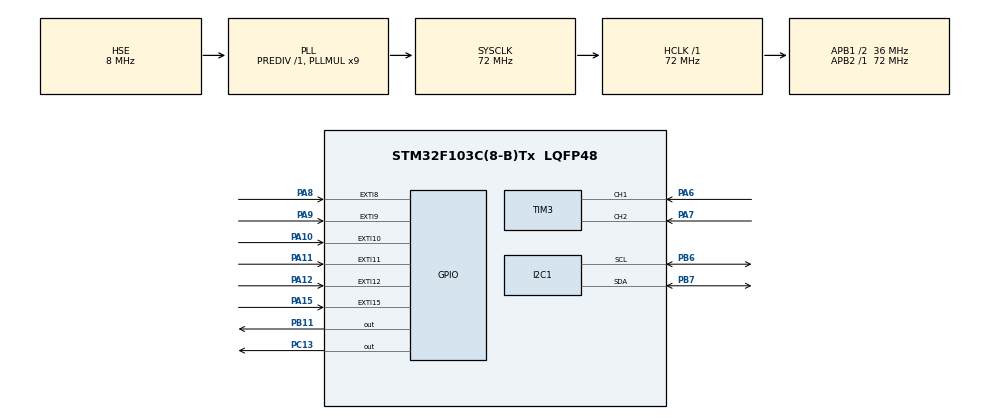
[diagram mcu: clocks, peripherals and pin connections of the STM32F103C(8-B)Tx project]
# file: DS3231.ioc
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I2C1.I2C_Mode=I2C_Fast
Mcu.Family=STM32F1
Mcu.Name=STM32F103C(8-B)Tx
Mcu.Package=LQFP48
NVIC.EXTI15_10_IRQn=true\:0\:0\:true\:false\:true\:true\:true\:true
NVIC.EXTI9_5_IRQn=true\:0\:0\:true\:false\:true\:true\:true\:true
NVIC.PriorityGroup=NVIC_PRIORITYGROUP_4
NVIC.TIM3_IRQn=true\:0\:0\:false\:false\:true\:true\:true\:true
PA0-WKUP.Mode=SYS_WakeUp0
PA0-WKUP.Signal=SYS_WKUP
PA10.GPIO_ModeDefaultEXTI=GPIO_MODE_IT_FALLING
PA10.Signal=GPXTI10
PA11.Signal=GPXTI11
PA12.Signal=GPXTI12
PA13.Mode=Serial_Wire
PA13.Signal=SYS_JTMS-SWDIO
PA14.Mode=Serial_Wire
PA14.Signal=SYS_JTCK-SWCLK
PA15.Signal=GPXTI15
PA6.Signal=S_TIM3_CH1
PA7.Signal=S_TIM3_CH2
PA8.Signal=GPXTI8
PA9.Signal=GPXTI9
PB11.Signal=GPIO_Output
PB6.Mode=I2C
PB6.Signal=I2C1_SCL
PB7.Mode=I2C
PB7.Signal=I2C1_SDA
PC13-TAMPER-RTC.Signal=GPIO_Output
PD0-OSC_IN.Mode=HSE-External-Oscillator
PD0-OSC_IN.Signal=RCC_OSC_IN
PD1-OSC_OUT.Mode=HSE-External-Oscillator
PD1-OSC_OUT.Signal=RCC_OSC_OUT
ProjectManager.HeapSize=0x200
ProjectManager.StackSize=0x400
ProjectManager.TargetToolchain=STM32CubeIDE
RCC.AHBFreq_Value=72000000
RCC.APB1CLKDivider=RCC_HCLK_DIV2
RCC.APB1Freq_Value=36000000
RCC.APB1TimFreq_Value=72000000
RCC.APB2Freq_Value=72000000
RCC.APB2TimFreq_Value=72000000
RCC.HCLKFreq_Value=72000000
RCC.PLLMUL=RCC_PLL_MUL9
RCC.PLLSourceVirtual=RCC_PLLSOURCE_HSE
RCC.SYSCLKFreq_VALUE=72000000
RCC.SYSCLKSource=RCC_SYSCLKSOURCE_PLLCLK
RCC.USBFreq_Value=72000000
SH.S_TIM3_CH1.0=TIM3_CH1,Encoder_Interface
SH.S_TIM3_CH2.0=TIM3_CH2,Encoder_Interface
TIM1.Prescaler=71
TIM2.Prescaler=71
TIM3.EncoderMode=TIM_ENCODERMODE_TI12
TIM3.IC1Polarity=TIM_ICPOLARITY_FALLING
TIM3.IC2Polarity=TIM_ICPOLARITY_FALLING
TIM4.Prescaler=71
VP_TIM1_VS_ClockSourceINT.Mode=Internal
VP_TIM2_VS_ClockSourceINT.Mode=Internal
VP_TIM4_VS_ClockSourceINT.Mode=Internal
board=custom

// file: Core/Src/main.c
/* USER CODE BEGIN Header */
/**
  ******************************************************************************
  * @file           : main.c
  * @brief          : Main program body
  ******************************************************************************
  * @attention
  *
  * Copyright (c) 2023 STMicroelectronics.
  * All rights reserved.

  * Main Author: VuTuanLinh / BlingMio

  * This software is licensed under terms that can be found in the LICENSE file
  * in the root directory of this software component.
  * If no LICENSE file comes with this software, it is provided AS-IS.
  *
  ******************************************************************************
  */
/* USER CODE END Header */
#include "main.h"

/* USER CODE BEGIN Includes */
#include "DS3231.h"
#include "lcd_i2c.h"
#include "delay.h"
#include "stdio.h"

/* USER CODE END Includes */

/* USER CODE BEGIN PTD */
	uint8_t device;
	DS3231_Time DS3231;
/* USER CODE END PTD */

I2C_HandleTypeDef hi2c1;
TIM_HandleTypeDef htim1;
TIM_HandleTypeDef htim2;
TIM_HandleTypeDef htim3;
TIM_HandleTypeDef htim4;

/* USER CODE BEGIN PV */
LCD_I2C_HandleTypeDef p_lcd;
/* USER CODE END PV */

void SystemClock_Config(void);
static void MX_GPIO_Init(void);
static void MX_I2C1_Init(void);
static void MX_TIM2_Init(void);
static void MX_TIM1_Init(void);
static void MX_TIM3_Init(void);
static void MX_TIM4_Init(void);

/* USER CODE BEGIN 0 */
	  	enum state{
		DATE,
		SET_HOUR,
		SET_MIN,
		SET_SEC,
		SET_DAY,
		SET_YEAR,
		SET_MONTH,
		SET_DATE,
		   };

       enum alarm{
	    ALARM,
		ALARM_HOUR,
		ALARM_MIN,
		ALARM_DAY,
		ALARM_YEAR,
		ALARM_MONTH,
		ALARM_DATE
           };
       enum dht {HOME, DHT};

    enum alarm alarm;
	enum state state;
	enum dht dht;

	char time[15];
	uint16_t hour = 0;
	uint16_t savealarmhour, min;
	uint16_t alarmday, alarmdate, alarmmonth, alarmyear;

	uint8_t savehour;
    uint8_t savemin;
    uint8_t savesec;
    uint8_t saveday, savedate, savemonth, saveyear;
    uint32_t timer = 0;

    uint8_t counter = 0;
    uint8_t trangthai = 0;
    uint8_t dem = 0;
    uint32_t flag = 0;

    uint32_t tempCode;
    uint8_t bitIndex;
    uint8_t cmd;
    uint8_t cmdli;
    uint32_t code;

	#define DHT11_PORT GPIOB
	#define DHT11_PIN GPIO_PIN_11
	uint8_t RHI, RHD, TCI, TCD, SUM;
	uint32_t pMillis, cMillis;
	float tCelsius = 0;
	float tFahrenheit = 0;
	float RH = 0;
	uint8_t TFI = 0;
	uint8_t TFD = 0;
	char strCopy[15];

    void HAL_TIM_IC_CaptureCallback(TIM_HandleTypeDef *htim)
	{
		counter = __HAL_TIM_GET_COUNTER(htim);
	}

    void HAL_GPIO_EXTI_Callback(uint16_t GPIO_Pin)
	{

	  if(GPIO_Pin == GPIO_PIN_10)
	  {
		if (__HAL_TIM_GET_COUNTER(&htim1) > 8000 )
		{
		  tempCode = 0;
		  bitIndex = 0;
		}
		else if (__HAL_TIM_GET_COUNTER(&htim1) > 1700)
		{
		  tempCode |= (1UL << (31-bitIndex));
		  bitIndex++;
		}
		else if (__HAL_TIM_GET_COUNTER(&htim1) > 1000)
		{
		  tempCode &= ~(1UL << (31-bitIndex));
		  bitIndex++;
		}
		if(bitIndex == 32)
		{
		  cmdli = ~tempCode;
		  cmd = tempCode >> 8;
		  if(cmdli == cmd)
		  {
			code = tempCode;
		  }
		  bitIndex = 0;
		}
		__HAL_TIM_SET_COUNTER(&htim1, 0);
		flag = code;
	  }

	  if(GPIO_Pin == GPIO_PIN_8 && dht != DHT  && alarm == ALARM
			  || flag == 16712445 && dht != DHT && alarm == ALARM)
		  {
	  	  if(HAL_GetTick()- timer < 90)
		  {
			return;
		  }
			timer = HAL_GetTick();
			  if (state == DATE)
			  {
				  lcd_clear(&p_lcd);
				  state++;
				  savehour = DS3231.Hour;
				  savemin = DS3231.Min;
				  savesec = DS3231.Sec;
				  saveday = DS3231.Day;
				  savedate = DS3231.Date;
				  savemonth = DS3231.Month;
				  saveyear = DS3231.Year;
				  flag = 0;
			  }
			  else{
				  state++;
				  flag = 0;
				  if (state - SET_SEC == 1)
					  {
					   state = SET_DAY;
					  }
				  if (state - SET_DATE == 1)
					  {
					   state = DATE;
					   DS3231_SetTime(&DS3231, savehour, savemin, savesec);
					   DS3231_SetDate(&DS3231, saveday, savedate, savemonth, saveyear);
					  }
					}
		  }

	  if(GPIO_Pin == GPIO_PIN_11 && dht != DHT  && state == DATE
			  || flag == 16769055 && dht != DHT && state == DATE)
	  	  	  {
	  	  if(HAL_GetTick()- timer < 90)
		  {
			return;
		  }
			timer = HAL_GetTick();
	  	  		  if (alarm == ALARM)
	  			  {
	  				  hour = DS3231.Hour;
		  			  savealarmhour = DS3231.Hour;
					  min  = DS3231.Min;
					  alarmday   = DS3231.Day;
	  				  alarmdate  = DS3231.Date;
	  				  alarmmonth = DS3231.Month;
	  				  alarmyear  = DS3231.Year;
	  				  min  = DS3231.Min + 1;
	  				  alarm++;
	  				  flag = 0;
	  			  }
	  	  		  else
	  	  		  {
	  				  alarm++;
	  				  if (alarm - ALARM_MIN == 1)
	  				  	  {
	  					  alarm = ALARM_DAY;
	  				  	  }
					  if (alarm - ALARM_DATE == 1)
						  {
						  alarm = ALARM;
						  }
	  				 flag = 0;
	  	  		   }
	  	  	      }

	  if (GPIO_Pin == GPIO_PIN_15 || flag == 16748655)
	  	  	  {
	  	  if(HAL_GetTick()- timer < 50)
		  {
			return;
		  }
					if (dht == HOME)
						{
						dht = DHT;
						}
					else
					{
						dht++;
						if (dht - DHT == 1)
							{
							dht = DATE;
							}
					}

				}

	  if(        GPIO_Pin == GPIO_PIN_9  && dht != DHT  && alarm == ALARM
			  || flag == 16761405 && dht != DHT && alarm == ALARM)
	 	 {
	  	  if(HAL_GetTick()- timer < 90)
		  {
			return;
		  }
			timer = HAL_GetTick();
      switch (state)
	 	 {
	 	 	 case SET_SEC:
	 	 		 savesec++;
	 	 		 flag = 0;
	 	 		 if (savesec > 59)

	 	 		 {
	 	 			 savesec = 0;
	 	 		 }
		     break;

			case SET_MIN:
				savemin++;
				flag = 0;
				if (savemin > 59)
					{
					 savemin = 0;
					}
				break;
			case SET_HOUR:
				savehour++;
				flag = 0;
				if (savehour > 23)
					{
					 savehour = 0;
					}
				break;
			case SET_DAY:
				saveday++;
				flag = 0;
				if (saveday > 7 )
					{
					saveday = 1;
					}
				break;
			case SET_YEAR:
				saveyear++;
				flag = 0;
				if ( saveyear > 30)
				{
					saveyear = 24;
				}
				break;
			case SET_MONTH:
				savemonth++;
				flag = 0;
				if ( savemonth > 12)
				{
					savemonth = 1;
				}
				break;
			case SET_DATE:
				savedate++;
				flag = 0;
				if (savemonth == 1
						|| savemonth == 3
						|| savemonth == 5
						|| savemonth == 7
						|| savemonth == 8
						|| savemonth == 10
						|| savemonth == 12 )
					{
					if (savedate > 31)
						{
						savedate = 1;
						}
					}
				if (savemonth == 2 && saveyear == 24)
					{
					if (savedate > 29)
						{
						savedate = 1;
						}
					}
				else if (savemonth == 2 && saveyear == 28)
				    {
					if (savedate > 29)
						{
						savedate = 1;
						}
					}
				else if (savemonth == 2 && saveyear != 24)
					{
					if (savedate > 28)
						{
						savedate = 1;
						}
					}
				else if (savemonth == 2 && saveyear != 28)
					{
					if (savedate > 28)
						{
						savedate = 1;
						}
					}
				if (savemonth == 4
						|| savemonth == 6
						|| savemonth == 3
						|| savemonth == 9
						|| savemonth == 11)
					{
					if (savedate > 30)
						{
						savedate = 1;
						}
					}
				break;
	 	 }
	 	 }

      if(GPIO_Pin == GPIO_PIN_12 && dht != DHT  && state == DATE
    		  || flag == 16754775 && dht != DHT && state == DATE)
      {
	  	  if(HAL_GetTick()- timer < 90)
		  {
			return;
		  }
			timer = HAL_GetTick();
				switch(alarm)
				{
				case ALARM_MIN:
					min++;
					flag = 0;
					if (min > 59)
						{
						min = 0;
						}
					break;
				case ALARM_HOUR:
					savealarmhour ++;
					flag = 0;
					if (savealarmhour > 23)
						{
						savealarmhour = 0;
						}
					break;
				case ALARM_DAY:
					alarmday++;
					flag = 0;
					if (alarmday > 7 )
						{
						alarmday = 1;
						}
					break;
				case ALARM_YEAR:
					alarmyear++;
					flag = 0;
					if ( alarmyear > 30)
					{
						alarmyear = 24;
					}
					break;
				case ALARM_MONTH:
					alarmmonth++;
					flag = 0;
					if ( alarmmonth > 12)
					{
						alarmmonth = 1;
					}
					break;
				case ALARM_DATE:
					alarmdate++;
					flag = 0;
					if (alarmmonth == 1
							|| alarmmonth == 3
							|| alarmmonth == 5
							|| alarmmonth == 7
							|| alarmmonth == 8
							|| alarmmonth == 10
							|| alarmmonth == 12 )
						{
						if (alarmdate > 31)
							{
							alarmdate = 1;
							}
						}
					if (alarmmonth == 2 && alarmyear == 24)
						{
						if (alarmdate > 29)
							{
							alarmdate = 1;
							}
						}
					else if (alarmmonth == 2 && alarmyear == 28)
						{
						if (alarmdate > 29)
							{
							alarmdate = 1;
							}
						}
					else if (alarmmonth == 2 && alarmyear != 24)
						{
						if (alarmdate > 28)
							{
							alarmdate = 1;
							}
						}
					else if (alarmmonth == 2 && alarmyear != 28)
						{
						if (alarmdate > 28)
							{
							alarmdate = 1;
							}
						}
					if (alarmmonth == 4
							|| alarmmonth == 6
							|| alarmmonth == 3
							|| alarmmonth == 9
							|| alarmmonth == 11)
						{
						if (alarmdate > 30)
							{
							alarmdate = 1;
							}
						}
					break;
		 default:
			    break;
		}

      }

	}
			void microDelay (uint16_t delay)
		  {
			__HAL_TIM_SET_COUNTER(&htim4, 0);
			while (__HAL_TIM_GET_COUNTER(&htim4) < delay);
		  }
			uint8_t DHT11_Start (void)
			{
			  uint8_t Response = 0;
			  GPIO_InitTypeDef GPIO_InitStructPrivate = {0};
			  GPIO_InitStructPrivate.Pin = DHT11_PIN;
			  GPIO_InitStructPrivate.Mode = GPIO_MODE_OUTPUT_PP;
			  GPIO_InitStructPrivate.Speed = GPIO_SPEED_FREQ_LOW;
			  GPIO_InitStructPrivate.Pull = GPIO_NOPULL;
			  HAL_GPIO_Init(DHT11_PORT, &GPIO_InitStructPrivate); // set the pin as output
			  HAL_GPIO_WritePin (DHT11_PORT, DHT11_PIN, 0);   // pull the pin low
			  HAL_Delay(20);   // wait for 20ms
			  HAL_GPIO_WritePin (DHT11_PORT, DHT11_PIN, 1);   // pull the pin high
			  microDelay (30);   // wait for 30us
			  GPIO_InitStructPrivate.Mode = GPIO_MODE_INPUT;
			  GPIO_InitStructPrivate.Pull = GPIO_PULLUP;
			  HAL_GPIO_Init(DHT11_PORT, &GPIO_InitStructPrivate); // set the pin as input
			  microDelay (40);
			  if (!(HAL_GPIO_ReadPin (DHT11_PORT, DHT11_PIN)))
			  {
				microDelay (80);
				if ((HAL_GPIO_ReadPin (DHT11_PORT, DHT11_PIN))) Response = 1;
			  }
			  pMillis = HAL_GetTick();
			  cMillis = HAL_GetTick();
			  while ((HAL_GPIO_ReadPin (DHT11_PORT, DHT11_PIN)) && pMillis + 2 > cMillis)
			  {
				cMillis = HAL_GetTick();
			  }
			  return Response;
			}

			uint8_t DHT11_Read (void)
			{
			  uint8_t a,b;
			  for (a=0;a<8;a++)
			  {
				pMillis = HAL_GetTick();
				cMillis = HAL_GetTick();
				while (!(HAL_GPIO_ReadPin (DHT11_PORT, DHT11_PIN)) && pMillis + 2 > cMillis)
				{  // wait for the pin to go high
				  cMillis = HAL_GetTick();
				}
				microDelay (40);   // wait for 40 us
				if (!(HAL_GPIO_ReadPin (DHT11_PORT, DHT11_PIN)))   // if the pin is low
				  b&= ~(1<<(7-a));
				else
				  b|= (1<<(7-a));
				pMillis = HAL_GetTick();
				cMillis = HAL_GetTick();
				while ((HAL_GPIO_ReadPin (DHT11_PORT, DHT11_PIN)) && pMillis + 2 > cMillis)
				{  // wait for the pin to go low
				  cMillis = HAL_GetTick();
				}
			  }
			  return b;
			  }

/* USER CODE END 0 */

int main(void)
{

  /* MCU Configuration--------------------------------------------------------*/

  /* Reset of all peripherals, Initializes the Flash interface and the Systick. */
  HAL_Init();

  /* Configure the system clock */
  SystemClock_Config();

  /* Initialize all configured peripherals */
  MX_GPIO_Init();
  MX_I2C1_Init();
  MX_TIM2_Init();
  MX_TIM1_Init();
  MX_TIM3_Init();
  MX_TIM4_Init();
  /* USER CODE BEGIN 2 */
  lcd_i2c_init(&p_lcd, &hi2c1, 20, 4, 0x27<<1);
  HAL_TIM_Base_Start(&htim2);
  HAL_TIM_Base_Start(&htim1);
  HAL_TIM_Base_Start(&htim4);
  __HAL_TIM_SET_COUNTER(&htim1, 0);

  for (int i = 0; i < 255; i++)
  {
	   if (HAL_I2C_IsDeviceReady(&hi2c1, i, 1, 100) == HAL_OK)
	   {
		   device = i;
	   }
  }

  DS3231_Init(&DS3231, &hi2c1);
  HAL_TIM_Encoder_Start_IT(&htim3, TIM_CHANNEL_ALL);
  uint32_t timer1 = HAL_GetTick();
//  DS3231_SetTime(&DS3231, 7, 53, 0);
//  DS3231_SetDate(&DS3231, 5, 25, 1, 24);
  /* USER CODE END 2 */

  /* Infinite loop */
  while (1)
  {

    /* USER CODE BEGIN 3 */

	  DS3231_GetTime(&DS3231);
	  DS3231_GetDate(&DS3231);

	  if(DHT11_Start())
	  				  {
	  					RHI = DHT11_Read(); // Relative humidity integral
	  					RHD = DHT11_Read(); // Relative humidity decimal
	  					TCI = DHT11_Read(); // Celsius integral
	  					TCD = DHT11_Read(); // Celsius decimal
	  					SUM = DHT11_Read(); // Check sum
	  					if (RHI + RHD + TCI + TCD == SUM)
	  					{
	  					  // Can use RHI and TCI for any purposes if whole number only needed
	  					  tCelsius = (float)TCI + (float)(TCD/10.0);
	  					  tFahrenheit = tCelsius * 9/5 + 32;
	  					  RH = (float)RHI + (float)(RHD/10.0);
	  					  // Can use tCelsius, tFahrenheit and RH for any purposes
	  					  TFI = tFahrenheit;  // Fahrenheit integral
	  					  TFD = tFahrenheit*10-TFI*10; // Fahrenheit decimal
	  					}
	  				  }

	  if (    alarm == ALARM
			  && DS3231.Hour == savealarmhour
			  && DS3231.Min == min
			  && DS3231.Day == alarmday
			  && DS3231.Date == alarmdate
			  && DS3231.Month == alarmmonth
			  && DS3231.Year == alarmyear)
		   {HAL_GPIO_WritePin(GPIOC, GPIO_PIN_13, SET);}
	  else {HAL_GPIO_WritePin(GPIOC, GPIO_PIN_13, RESET);}

	  switch (state)
	  {
	  	 case DATE:
	  		DS3231_GetTime(&DS3231);
		    DS3231_GetDate(&DS3231);
		    HAL_Delay(100);
		    lcd_clear(&p_lcd);
					if (DS3231.Day == 1)
					{
						lcd_set_cursor(&p_lcd, 0, 1);
						sprintf(time, "CN %d-%d-20%d" , DS3231.Date, DS3231.Month, DS3231.Year);
						lcd_send_string(&p_lcd, time);
					}
					else
					{
						lcd_set_cursor(&p_lcd, 0, 1);
						sprintf(time, "Thu %d %d-%d-20%d", DS3231.Day, DS3231.Date, DS3231.Month, DS3231.Year);
						lcd_send_string(&p_lcd, time);
					}

                    if (HAL_GetTick()- timer1 >= 5000)
                    	{
                    	  lcd_clear(&p_lcd);
                    	  lcd_set_cursor(&p_lcd, 0, 1);
                    	  sprintf(time, "%02d:%02d", savealarmhour, min);
                    	  lcd_send_string(&p_lcd, time);

                    	  if (alarmday == 1)
						{
							lcd_set_cursor(&p_lcd, 6, 1);
							sprintf(time, "CN/%d/%d/%d" , alarmdate, alarmmonth, alarmyear);
							lcd_send_string(&p_lcd, time);
						}
						else
						{
							lcd_set_cursor(&p_lcd, 6, 1);
							sprintf(time, "%d/%d/%d/%d", alarmday, alarmdate, alarmmonth, alarmyear);
							lcd_send_string(&p_lcd, time);
						}
                    	  lcd_set_cursor(&p_lcd, 4, 0);
						  sprintf(time, "%02d:%02d:%02d ", DS3231.Hour, DS3231.Min, DS3231.Sec);
						  lcd_send_string(&p_lcd, time);
					    }
					  if (HAL_GetTick()- timer1 >= 8500)
					  {
					  timer1 = HAL_GetTick();
					  }

		    lcd_set_cursor(&p_lcd, 4, 0);
			sprintf(time, "%02d:%02d:%02d ", DS3231.Hour, DS3231.Min, DS3231.Sec);
			lcd_send_string(&p_lcd, time);
	  		break;

	  	 case SET_HOUR:
	  		if (trangthai < counter)
					{
					  trangthai = counter;
					  savehour++;
							if (savehour > 23)
								{
								savehour = 0;
								}
						trangthai = counter;
					}
			  else if (trangthai > counter)
					{
						trangthai = counter;
						savehour--;
						if (savehour < 0)
							{
							savehour = 23;
							}
						trangthai = counter;
					}
			  if (trangthai = counter)
					{
					  if (savehour > 23)
						{
						  savehour = 23;
						}
					}
	  		lcd_clear(&p_lcd);
	  		lcd_set_cursor(&p_lcd, 4, 0);
	  		sprintf(time, " +%02d:%02d:%02d", savehour, savemin, savesec);
	  		lcd_send_string(&p_lcd, time);
	  		HAL_Delay(150);
	  	 	break;

	  	 case SET_MIN:
	  		if (trangthai < counter)
					{
					  trangthai = counter;
					  savemin++;
							if (savemin > 59)
								{
								savemin = 0;
								}
						trangthai = counter;
					}
			  else if (trangthai > counter)
					{
						trangthai = counter;
						savemin--;
						if (savemin < 0)
							{
							savemin = 59;
							}
						trangthai = counter;
					}
			  if (trangthai = counter)
					{
					  if (savemin > 59)
						{
						  savemin = 59;
						}
					}
		 	lcd_clear(&p_lcd);
	  		lcd_set_cursor(&p_lcd, 4, 0);
	  		sprintf(time, "  %02d:+%02d:%02d", savehour, savemin, savesec);
			lcd_send_string(&p_lcd, time);
			HAL_Delay(150);
		    break;

	  	 case SET_SEC:
	  		if (trangthai < counter)
					{
					  trangthai = counter;
					  savesec++;
							if (savesec > 59)
								{
								savesec = 0;
								}
						trangthai = counter;
					}
			  else if (trangthai > counter)
					{
						trangthai = counter;
						savesec--;
						if (savesec < 0)
							{
							savesec = 59;
							}
						trangthai = counter;
					}
			  if (trangthai = counter)
					{
					  if (savesec > 59)
						{
						  savesec = 59;
						}
					}
		 	lcd_clear(&p_lcd);
			lcd_set_cursor(&p_lcd, 4, 0);
			sprintf(time, " %02d:%02d:+%02d", savehour, savemin, savesec);
			lcd_send_string(&p_lcd, time);
			HAL_Delay(150);
			break;

	  	 case SET_DAY:
	  		if (trangthai < counter)
					{
					  trangthai = counter;
					  saveday++;
							if ( saveday > 7)
								{
								saveday = 1;
								}
						trangthai = counter;
					}
			  else if (trangthai > counter)
					{
						trangthai = counter;
						saveday--;
						if (saveday < 1)
							{
							saveday = 7;
							}
						trangthai = counter;
					}
			  if (trangthai = counter)
					{
					  if (saveday > 7)
						{
						  saveday = 7;
						}
					}
		 	lcd_clear(&p_lcd);
	  		if (saveday == 1)
			{
			lcd_set_cursor(&p_lcd, 0, 0);
			sprintf(time, "CN%d-%d-20%d", savedate, savemonth, saveyear);
			lcd_send_string(&p_lcd, time);
			}
	  		else
			{
			lcd_set_cursor(&p_lcd, 0, 0);
			sprintf(time, "Thu+%d %d-%d-20%d", saveday, savedate, savemonth, saveyear);
			lcd_send_string(&p_lcd, time);
			}
	  		HAL_Delay(150);
	  		break;

	  	 case SET_YEAR:
	  		 if (trangthai < counter)
					{
					  trangthai = counter;
					  saveyear++;
							if (saveyear > 30)
								{
								saveyear = 24;
								}
						trangthai = counter;
					}
			  else if (trangthai > counter)
					{
						trangthai = counter;
						saveyear--;
						if (saveyear < 24)
							{
							saveyear = 30;
							}
						trangthai = counter;
					}
			  if (trangthai = counter)
					{
					  if (saveyear > 30)
						{
						  saveyear = 30;
						}
					}
			lcd_clear(&p_lcd);
	  		if (saveday == 1)
			{
			lcd_set_cursor(&p_lcd, 0, 0);
			sprintf(time, "CN%d-%d-20+%d" , savedate, savemonth, saveyear);
			lcd_send_string(&p_lcd, time);
			}
			else
			{
			lcd_set_cursor(&p_lcd, 0, 0);
			sprintf(time, "Thu%d %d-%d-20+%d", saveday, savedate, savemonth, saveyear);
			lcd_send_string(&p_lcd, time);
			}

	  		HAL_Delay(150);
	  		break;

	  	 case SET_MONTH:
	  		if (trangthai < counter)
					{
					  trangthai = counter;
					  savemonth++;
							if ( savemonth > 12)
								{
								 savemonth = 1;
								}
						trangthai = counter;
					}
			  else if (trangthai > counter)
					{
						trangthai = counter;
						 savemonth--;
						if ( savemonth < 1)
							{
							 savemonth = 12;
							}
						trangthai = counter;
					}
			  if (trangthai = counter)
					{
					  if ( savemonth > 12)
						{
						  savemonth = 12;
						}
					}
		 	lcd_clear(&p_lcd);
			if (saveday == 1)
			{
			lcd_set_cursor(&p_lcd, 0, 0);
			sprintf(time, "CN%d-+%d-20%d" , savedate, savemonth, saveyear);
			lcd_send_string(&p_lcd, time);
			}
			else
			{
			lcd_set_cursor(&p_lcd, 0, 0);
			sprintf(time, "Thu%d %d-+%d-20%d", saveday, savedate, savemonth, saveyear);
			lcd_send_string(&p_lcd, time);
			}

			HAL_Delay(150);
			break;

	  	 case SET_DATE:
	  		if (trangthai < counter)
			{
			  trangthai = counter;
			  savedate++;
				  if (savemonth == 1
						|| savemonth == 3
						|| savemonth == 5
						|| savemonth == 7
						|| savemonth == 8
						|| savemonth == 10
						|| savemonth == 12 )
					{
					if (savedate > 31)
						{
						savedate = 1;
						}
					}
				if (savemonth == 2 && saveyear == 24)
					{
					if (savedate > 29)
						{
						savedate = 1;
						}
					}
				else if (savemonth == 2 && saveyear == 28)
					{
					if (savedate > 29)
						{
						savedate = 1;
						}
					}
				else if (savemonth == 2 && saveyear != 24)
					{
					if (savedate > 28)
						{
						savedate = 1;
						}
					}
				else if (savemonth == 2 && saveyear != 28)
					{
					if (savedate > 28)
						{
						savedate = 1;
						}
					}
				if (savemonth == 4
						|| savemonth == 6
						|| savemonth == 3
						|| savemonth == 9
						|| savemonth == 11)
					{
					if (savedate > 30)
						{
						savedate = 1;
						}
					}
				trangthai = counter;
			}
	  else if (trangthai > counter)
			{
				trangthai = counter;
				savedate--;
					  if (savemonth == 1
							|| savemonth == 3
							|| savemonth == 5
							|| savemonth == 7
							|| savemonth == 8
							|| savemonth == 10
							|| savemonth == 12 )
						{
						if (savedate < 1)
							{
							savedate = 31;
							}
						}
					if (savemonth == 2 && saveyear == 24)
						{
						if (savedate < 1)
							{
							savedate = 29;
							}
						}
					else if (savemonth == 2 && saveyear == 28)
						{
						if (savedate < 1)
							{
							savedate = 29;
							}
						}
					else if (savemonth == 2 && saveyear != 24)
						{
						if (savedate < 1)
							{
							savedate = 28;
							}
						}
					else if (savemonth == 2 && saveyear != 28)
						{
						if (savedate < 1)
							{
							savedate = 28;
							}
						}
					if (savemonth == 4
							|| savemonth == 6
							|| savemonth == 3
							|| savemonth == 9
							|| savemonth == 11)
						{
						if (savedate < 1)
							{
							savedate = 30;
							}
						}
				trangthai = counter;
			}
	  if (trangthai = counter)
			{
		  if (savemonth == 1
					|| savemonth == 3
					|| savemonth == 5
					|| savemonth == 7
					|| savemonth == 8
					|| savemonth == 10
					|| savemonth == 12 )
				{
				if (savedate > 31)
					{
					savedate = 31;
					}
				}
			if (savemonth == 2 && alarmyear == 24)
				{
				if (savedate > 29)
					{
					savedate = 29;
					}
				}
			else if (savemonth == 2 && alarmyear == 28)
				{
				if (savedate > 29)
					{
					savedate = 29;
					}
				}
			else if (savemonth == 2 && alarmyear != 24)
				{
				if (savedate > 28)
					{
					savedate = 28;
					}
				}
			else if (savemonth == 2 && alarmyear != 28)
				{
				if (savedate > 28)
					{
					savedate = 28;
					}
				}
			if (savemonth == 4
					|| savemonth == 6
					|| savemonth == 3
					|| savemonth == 9
					|| savemonth == 11)
				{
				if (savedate > 30)
					{
					savedate = 30;
					}
				}
			}
	  		lcd_clear(&p_lcd);
	  		if (saveday == 1)
			{
			lcd_set_cursor(&p_lcd, 0, 0);
			sprintf(time, "CN+%d-%d-20%d" , savedate, savemonth, saveyear);
			lcd_send_string(&p_lcd, time);
			}
			else
			{
			lcd_set_cursor(&p_lcd, 0, 0);
			sprintf(time, "Thu%d +%d-%d-20%d", saveday, savedate, savemonth, saveyear);
			lcd_send_string(&p_lcd, time);
			}

			HAL_Delay(150);
			break;
	  	default:
	  				 break;
	  }

	  switch(dht)
	  	  {
	       case DHT:
				lcd_clear(&p_lcd);
				lcd_set_cursor(&p_lcd, 0, 0);
				sprintf(strCopy, "Nhiet do %d.%d C", TCI, TCD);
				lcd_send_string(&p_lcd, strCopy);
				lcd_set_cursor(&p_lcd, 0, 1);
				sprintf(strCopy, "Do am %d.%d %%", RHI, RHD);
				lcd_send_string(&p_lcd, strCopy);
			break;
	  	  }

 switch(alarm)
	{
		 case ALARM_HOUR:
			 if (trangthai < counter)
					{
					  trangthai = counter;
					  savealarmhour++;
							if (savealarmhour > 23)
								{
								savealarmhour = 0;
								}
						trangthai = counter;
					}
			  else if (trangthai > counter)
					{
						trangthai = counter;
						savealarmhour--;
						if (savealarmhour < 0)
							{
							savealarmhour = 23;
							}
						trangthai = counter;
					}
			  if (trangthai = counter)
					{
					  if (savealarmhour > 23)
						{
						  savealarmhour = 23;
						}
					}
			lcd_clear(&p_lcd);
			lcd_set_cursor(&p_lcd, 2, 0);
			sprintf(time, " +%02d:%02d",  savealarmhour, min);
			lcd_send_string(&p_lcd, time);
			HAL_Delay(300);
			break;

		 case ALARM_MIN:
			 if (trangthai < counter)
					{
					  trangthai = counter;
					  min++;
							if (min > 59)
								{
								min = 0;
								}
						trangthai = counter;
					}
			  else if (trangthai > counter)
					{
						trangthai = counter;
						min--;
						if (min < 0)
							{
							min = 59;
							}
						trangthai = counter;
					}
			  if (trangthai = counter)
					{
					  if (min > 59)
						{
						  min = 59;
						}
					}
			lcd_clear(&p_lcd);
			lcd_set_cursor(&p_lcd, 2, 0);
			sprintf(time, "  %02d:+%02d", savealarmhour, min);
			lcd_send_string(&p_lcd, time);
		    HAL_Delay(300);
			break;

		 case ALARM_DAY:
			 if (trangthai < counter)
					{
					  trangthai = counter;
					  alarmday++;
							if (alarmday > 7)
								{
								alarmday = 1;
								}
						trangthai = counter;
					}
			  else if (trangthai > counter)
					{
						trangthai = counter;
						alarmday--;
						if (alarmday < 1)
							{
							alarmday = 7;
							}
						trangthai = counter;
					}
			  if (trangthai = counter)
					{
					  if (alarmday > 7)
						{
						  alarmday = 7;
						}
					}
			lcd_clear(&p_lcd);
			if (alarmday == 1)
			{
			lcd_set_cursor(&p_lcd, 0, 0);
			sprintf(time, "CN %d-%d-20%d", alarmdate, alarmmonth, alarmyear);
			lcd_send_string(&p_lcd, time);
			}
			else
			{
			lcd_set_cursor(&p_lcd, 0, 0);
			sprintf(time, "Thu +%d %d-%d-20%d", alarmday, alarmdate, alarmmonth, alarmyear);
			lcd_send_string(&p_lcd, time);
			}
			HAL_Delay(300);
			break;

		 case ALARM_YEAR:
			 if (trangthai < counter)
					{
					  trangthai = counter;
					  alarmyear++;
							if (alarmyear > 30)
								{
								alarmyear = 24;
								}
						trangthai = counter;
					}
			  else if (trangthai > counter)
					{
						trangthai = counter;
						alarmyear--;
						if (alarmyear < 24)
							{
							alarmyear = 30;
							}
						trangthai = counter;
					}
			  if (trangthai = counter)
					{
					  if (alarmyear > 30)
						{
						  alarmyear = 30;
						}
					}
			lcd_clear(&p_lcd);
			if (alarmday == 1)
			{
			lcd_set_cursor(&p_lcd, 0, 0);
			sprintf(time, "CN %d-%d-20+%d" , alarmdate, alarmmonth, alarmyear);
			lcd_send_string(&p_lcd, time);
			}
			else
			{
			lcd_set_cursor(&p_lcd, 0, 0);
			sprintf(time, "Thu %d %d-%d-20+%d", alarmday, alarmdate, alarmmonth, alarmyear);
			lcd_send_string(&p_lcd, time);
			}
			HAL_Delay(300);
			break;

		 case ALARM_MONTH:
	  if (trangthai < counter)
			{
			  trangthai = counter;
			  alarmmonth++;
					if (alarmmonth > 12)
						{
						alarmmonth = 1;
						}
				trangthai = counter;
			}
	  else if (trangthai > counter)
			{
				trangthai = counter;
				alarmmonth--;
				if (alarmmonth < 1)
					{
					alarmmonth = 12;
					}
				trangthai = counter;
			}
	  if (trangthai = counter)
			{
			  if (alarmmonth > 12)
				{
				  alarmmonth = 12;
				}
			}
			lcd_clear(&p_lcd);
			if (alarmday ==1)
			{
			lcd_set_cursor(&p_lcd, 0, 0);
			sprintf(time, "CN %d-+%d-20%d" , alarmdate, alarmmonth, alarmyear);
			lcd_send_string(&p_lcd, time);
			}
			else
			{
			lcd_set_cursor(&p_lcd, 0, 0);
			sprintf(time, "Thu %d %d-+%d-20%d", alarmday, alarmdate, alarmmonth, alarmyear);
			lcd_send_string(&p_lcd, time);
			}
			HAL_Delay(300);
			break;

		 case ALARM_DATE:
			 if (trangthai < counter)
					{
					  trangthai = counter;
					  alarmdate++;
						  if (alarmmonth == 1
								|| alarmmonth == 3
								|| alarmmonth == 5
								|| alarmmonth == 7
								|| alarmmonth == 8
								|| alarmmonth == 10
								|| alarmmonth == 12 )
							{
							if (alarmdate > 31)
								{
								alarmdate = 1;
								}
							}
						if (alarmmonth == 2 && alarmyear == 24)
							{
							if (alarmdate > 29)
								{
								alarmdate = 1;
								}
							}
						else if (alarmmonth == 2 && alarmyear == 28)
							{
							if (alarmdate > 29)
								{
								alarmdate = 1;
								}
							}
						else if (alarmmonth == 2 && alarmyear != 24)
							{
							if (alarmdate > 28)
								{
								alarmdate = 1;
								}
							}
						else if (alarmmonth == 2 && alarmyear != 28)
							{
							if (alarmdate > 28)
								{
								alarmdate = 1;
								}
							}
						if (alarmmonth == 4
								|| alarmmonth == 6
								|| alarmmonth == 3
								|| alarmmonth == 9
								|| alarmmonth == 11)
							{
							if (alarmdate > 30)
								{
								alarmdate = 1;
								}
							}
						trangthai = counter;
					}
			  else if (trangthai > counter)
					{
						trangthai = counter;
						alarmdate--;
							  if (alarmmonth == 1
									|| alarmmonth == 3
									|| alarmmonth == 5
									|| alarmmonth == 7
									|| alarmmonth == 8
									|| alarmmonth == 10
									|| alarmmonth == 12 )
								{
								if (alarmdate < 1)
									{
									alarmdate = 31;
									}
								}
							if (alarmmonth == 2 && alarmyear == 24)
								{
								if (alarmdate < 1)
									{
									alarmdate = 29;
									}
								}
							else if (alarmmonth == 2 && alarmyear == 28)
								{
								if (alarmdate < 1)
									{
									alarmdate = 29;
									}
								}
							else if (alarmmonth == 2 && alarmyear != 24)
								{
								if (alarmdate < 1)
									{
									alarmdate = 28;
									}
								}
							else if (alarmmonth == 2 && alarmyear != 28)
								{
								if (alarmdate < 1)
									{
									alarmdate = 28;
									}
								}
							if (alarmmonth == 4
									|| alarmmonth == 6
									|| alarmmonth == 3
									|| alarmmonth == 9
									|| alarmmonth == 11)
								{
								if (alarmdate < 1)
									{
									alarmdate = 30;
									}
								}
						trangthai = counter;
					}
			  if (trangthai = counter)
					{
				  if (alarmmonth == 1
							|| alarmmonth == 3
							|| alarmmonth == 5
							|| alarmmonth == 7
							|| alarmmonth == 8
							|| alarmmonth == 10
							|| alarmmonth == 12 )
						{
						if (alarmdate > 31)
							{
							alarmdate = 31;
							}
						}
					if (alarmmonth == 2 && alarmyear == 24)
						{
						if (alarmdate > 29)
							{
							alarmdate = 29;
							}
						}
					else if (alarmmonth == 2 && alarmyear == 28)
						{
						if (alarmdate > 29)
							{
							alarmdate = 29;
							}
						}
					else if (alarmmonth == 2 && alarmyear != 24)
						{
						if (alarmdate > 28)
							{
							alarmdate = 28;
							}
						}
					else if (alarmmonth == 2 && alarmyear != 28)
						{
						if (alarmdate > 28)
							{
							alarmdate = 28;
							}
						}
					if (alarmmonth == 4
							|| alarmmonth == 6
							|| alarmmonth == 3
							|| alarmmonth == 9
							|| alarmmonth == 11)
						{
						if (alarmdate > 30)
							{
							alarmdate = 30;
							}
						}
					}
			lcd_clear(&p_lcd);
			if (alarmday == 1)
			{
			lcd_set_cursor(&p_lcd, 0, 0);
			sprintf(time, "CN +%d-%d-20%d" , alarmdate, alarmmonth, alarmyear);
			lcd_send_string(&p_lcd, time);
			}
			else
			{
			lcd_set_cursor(&p_lcd, 0, 0);
			sprintf(time, "Thu %d +%d-%d-20%d", alarmday, alarmdate, alarmmonth, alarmyear);
			lcd_send_string(&p_lcd, time);
			}
			HAL_Delay(300);
			break;

		 default:
			 break;
	  	 }
  }
  /* USER CODE END 3 */
}

void SystemClock_Config(void)
{
  RCC_OscInitTypeDef RCC_OscInitStruct = {0};
  RCC_ClkInitTypeDef RCC_ClkInitStruct = {0};

  /** Initializes the RCC Oscillators according to the specified parameters
  * in the RCC_OscInitTypeDef structure.
  */
  RCC_OscInitStruct.OscillatorType = RCC_OSCILLATORTYPE_HSE;
  RCC_OscInitStruct.HSEState = RCC_HSE_ON;
  RCC_OscInitStruct.HSEPredivValue = RCC_HSE_PREDIV_DIV1;
  RCC_OscInitStruct.HSIState = RCC_HSI_ON;
  RCC_OscInitStruct.PLL.PLLState = RCC_PLL_ON;
  RCC_OscInitStruct.PLL.PLLSource = RCC_PLLSOURCE_HSE;
  RCC_OscInitStruct.PLL.PLLMUL = RCC_PLL_MUL9;
  if (HAL_RCC_OscConfig(&RCC_OscInitStruct) != HAL_OK)
  {
    Error_Handler();
  }

  /** Initializes the CPU, AHB and APB buses clocks
  */
  RCC_ClkInitStruct.ClockType = RCC_CLOCKTYPE_HCLK|RCC_CLOCKTYPE_SYSCLK
                              |RCC_CLOCKTYPE_PCLK1|RCC_CLOCKTYPE_PCLK2;
  RCC_ClkInitStruct.SYSCLKSource = RCC_SYSCLKSOURCE_PLLCLK;
  RCC_ClkInitStruct.AHBCLKDivider = RCC_SYSCLK_DIV1;
  RCC_ClkInitStruct.APB1CLKDivider = RCC_HCLK_DIV2;
  RCC_ClkInitStruct.APB2CLKDivider = RCC_HCLK_DIV1;

  if (HAL_RCC_ClockConfig(&RCC_ClkInitStruct, FLASH_LATENCY_2) != HAL_OK)
  {
    Error_Handler();
  }
}

static void MX_I2C1_Init(void)
{

  hi2c1.Instance = I2C1;
  hi2c1.Init.ClockSpeed = 400000;
  hi2c1.Init.DutyCycle = I2C_DUTYCYCLE_2;
  hi2c1.Init.OwnAddress1 = 0;
  hi2c1.Init.AddressingMode = I2C_ADDRESSINGMODE_7BIT;
  hi2c1.Init.DualAddressMode = I2C_DUALADDRESS_DISABLE;
  hi2c1.Init.OwnAddress2 = 0;
  hi2c1.Init.GeneralCallMode = I2C_GENERALCALL_DISABLE;
  hi2c1.Init.NoStretchMode = I2C_NOSTRETCH_DISABLE;
  if (HAL_I2C_Init(&hi2c1) != HAL_OK)
  {
    Error_Handler();
  }

}

static void MX_TIM1_Init(void)
{

  TIM_ClockConfigTypeDef sClockSourceConfig = {0};
  TIM_MasterConfigTypeDef sMasterConfig = {0};

  htim1.Instance = TIM1;
  htim1.Init.Prescaler = 71;
  htim1.Init.CounterMode = TIM_COUNTERMODE_UP;
  htim1.Init.Period = 65535;
  htim1.Init.ClockDivision = TIM_CLOCKDIVISION_DIV1;
  htim1.Init.RepetitionCounter = 0;
  htim1.Init.AutoReloadPreload = TIM_AUTORELOAD_PRELOAD_DISABLE;
  if (HAL_TIM_Base_Init(&htim1) != HAL_OK)
  {
    Error_Handler();
  }
  sClockSourceConfig.ClockSource = TIM_CLOCKSOURCE_INTERNAL;
  if (HAL_TIM_ConfigClockSource(&htim1, &sClockSourceConfig) != HAL_OK)
  {
    Error_Handler();
  }
  sMasterConfig.MasterOutputTrigger = TIM_TRGO_RESET;
  sMasterConfig.MasterSlaveMode = TIM_MASTERSLAVEMODE_DISABLE;
  if (HAL_TIMEx_MasterConfigSynchronization(&htim1, &sMasterConfig) != HAL_OK)
  {
    Error_Handler();
  }

}

static void MX_TIM2_Init(void)
{

  TIM_ClockConfigTypeDef sClockSourceConfig = {0};
  TIM_MasterConfigTypeDef sMasterConfig = {0};

  htim2.Instance = TIM2;
  htim2.Init.Prescaler = 71;
  htim2.Init.CounterMode = TIM_COUNTERMODE_UP;
  htim2.Init.Period = 65535;
  htim2.Init.ClockDivision = TIM_CLOCKDIVISION_DIV1;
  htim2.Init.AutoReloadPreload = TIM_AUTORELOAD_PRELOAD_DISABLE;
  if (HAL_TIM_Base_Init(&htim2) != HAL_OK)
  {
    Error_Handler();
  }
  sClockSourceConfig.ClockSource = TIM_CLOCKSOURCE_INTERNAL;
  if (HAL_TIM_ConfigClockSource(&htim2, &sClockSourceConfig) != HAL_OK)
  {
    Error_Handler();
  }
  sMasterConfig.MasterOutputTrigger = TIM_TRGO_RESET;
  sMasterConfig.MasterSlaveMode = TIM_MASTERSLAVEMODE_DISABLE;
  if (HAL_TIMEx_MasterConfigSynchronization(&htim2, &sMasterConfig) != HAL_OK)
  {
    Error_Handler();
  }

}

static void MX_TIM3_Init(void)
{

  TIM_Encoder_InitTypeDef sConfig = {0};
  TIM_MasterConfigTypeDef sMasterConfig = {0};

  htim3.Instance = TIM3;
  htim3.Init.Prescaler = 0;
  htim3.Init.CounterMode = TIM_COUNTERMODE_UP;
  htim3.Init.Period = 65535;
  htim3.Init.ClockDivision = TIM_CLOCKDIVISION_DIV1;
  htim3.Init.AutoReloadPreload = TIM_AUTORELOAD_PRELOAD_DISABLE;
  sConfig.EncoderMode = TIM_ENCODERMODE_TI12;
  sConfig.IC1Polarity = TIM_ICPOLARITY_FALLING;
  sConfig.IC1Selection = TIM_ICSELECTION_DIRECTTI;
  sConfig.IC1Prescaler = TIM_ICPSC_DIV1;
  sConfig.IC1Filter = 0;
  sConfig.IC2Polarity = TIM_ICPOLARITY_FALLING;
  sConfig.IC2Selection = TIM_ICSELECTION_DIRECTTI;
  sConfig.IC2Prescaler = TIM_ICPSC_DIV1;
  sConfig.IC2Filter = 0;
  if (HAL_TIM_Encoder_Init(&htim3, &sConfig) != HAL_OK)
  {
    Error_Handler();
  }
  sMasterConfig.MasterOutputTrigger = TIM_TRGO_RESET;
  sMasterConfig.MasterSlaveMode = TIM_MASTERSLAVEMODE_DISABLE;
  if (HAL_TIMEx_MasterConfigSynchronization(&htim3, &sMasterConfig) != HAL_OK)
  {
    Error_Handler();
  }

}

static void MX_TIM4_Init(void)
{

  TIM_ClockConfigTypeDef sClockSourceConfig = {0};
  TIM_MasterConfigTypeDef sMasterConfig = {0};

  htim4.Instance = TIM4;
  htim4.Init.Prescaler = 71;
  htim4.Init.CounterMode = TIM_COUNTERMODE_UP;
  htim4.Init.Period = 65535;
  htim4.Init.ClockDivision = TIM_CLOCKDIVISION_DIV1;
  htim4.Init.AutoReloadPreload = TIM_AUTORELOAD_PRELOAD_DISABLE;
  if (HAL_TIM_Base_Init(&htim4) != HAL_OK)
  {
    Error_Handler();
  }
  sClockSourceConfig.ClockSource = TIM_CLOCKSOURCE_INTERNAL;
  if (HAL_TIM_ConfigClockSource(&htim4, &sClockSourceConfig) != HAL_OK)
  {
    Error_Handler();
  }
  sMasterConfig.MasterOutputTrigger = TIM_TRGO_RESET;
  sMasterConfig.MasterSlaveMode = TIM_MASTERSLAVEMODE_DISABLE;
  if (HAL_TIMEx_MasterConfigSynchronization(&htim4, &sMasterConfig) != HAL_OK)
  {
    Error_Handler();
  }

}

static void MX_GPIO_Init(void)
{
  GPIO_InitTypeDef GPIO_InitStruct = {0};

  /* GPIO Ports Clock Enable */
  __HAL_RCC_GPIOC_CLK_ENABLE();
  __HAL_RCC_GPIOD_CLK_ENABLE();
  __HAL_RCC_GPIOA_CLK_ENABLE();
  __HAL_RCC_GPIOB_CLK_ENABLE();

  /*Configure GPIO pin Output Level */
  HAL_GPIO_WritePin(GPIOC, GPIO_PIN_13, GPIO_PIN_RESET);

  /*Configure GPIO pin Output Level */
  HAL_GPIO_WritePin(GPIOB, GPIO_PIN_11, GPIO_PIN_RESET);

  /*Configure GPIO pin : PC13 */
  GPIO_InitStruct.Pin = GPIO_PIN_13;
  GPIO_InitStruct.Mode = GPIO_MODE_OUTPUT_PP;
  GPIO_InitStruct.Pull = GPIO_NOPULL;
  GPIO_InitStruct.Speed = GPIO_SPEED_FREQ_LOW;
  HAL_GPIO_Init(GPIOC, &GPIO_InitStruct);

  /*Configure GPIO pin : PB11 */
  GPIO_InitStruct.Pin = GPIO_PIN_11;
  GPIO_InitStruct.Mode = GPIO_MODE_OUTPUT_PP;
  GPIO_InitStruct.Pull = GPIO_NOPULL;
  GPIO_InitStruct.Speed = GPIO_SPEED_FREQ_LOW;
  HAL_GPIO_Init(GPIOB, &GPIO_InitStruct);

  /*Configure GPIO pins : PA8 PA9 PA11 PA12
                           PA15 */
  GPIO_InitStruct.Pin = GPIO_PIN_8|GPIO_PIN_9|GPIO_PIN_11|GPIO_PIN_12
                          |GPIO_PIN_15;
  GPIO_InitStruct.Mode = GPIO_MODE_IT_RISING;
  GPIO_InitStruct.Pull = GPIO_NOPULL;
  HAL_GPIO_Init(GPIOA, &GPIO_InitStruct);

  /*Configure GPIO pin : PA10 */
  GPIO_InitStruct.Pin = GPIO_PIN_10;
  GPIO_InitStruct.Mode = GPIO_MODE_IT_FALLING;
  GPIO_InitStruct.Pull = GPIO_NOPULL;
  HAL_GPIO_Init(GPIOA, &GPIO_InitStruct);

  /* EXTI interrupt init*/
  HAL_NVIC_SetPriority(EXTI9_5_IRQn, 0, 0);
  HAL_NVIC_EnableIRQ(EXTI9_5_IRQn);

  HAL_NVIC_SetPriority(EXTI15_10_IRQn, 0, 0);
  HAL_NVIC_EnableIRQ(EXTI15_10_IRQn);

}

void Error_Handler(void)
{
  __disable_irq();
  while (1)
  {
  }
}
